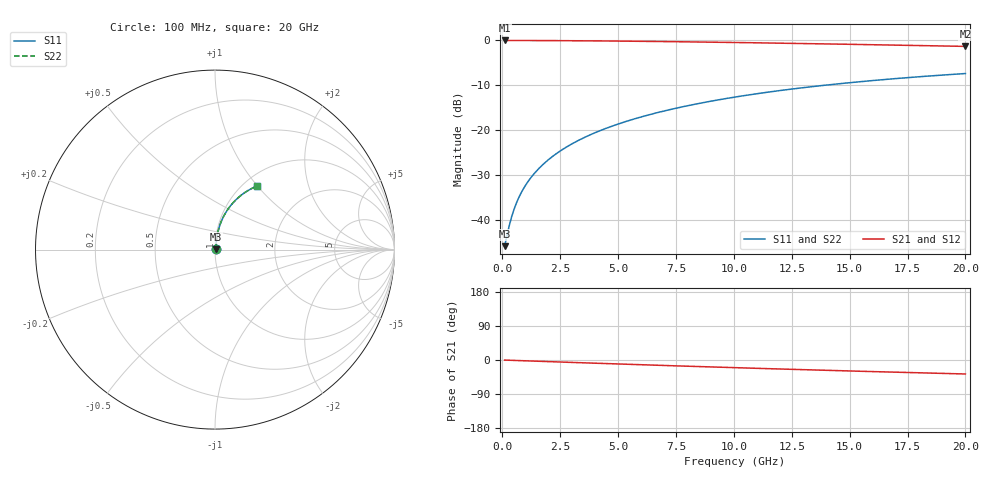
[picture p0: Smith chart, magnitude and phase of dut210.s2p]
! Touchstone file exported from HFSS 2024.1.0
!  File:  C:/UserFiles/LocalFiles/RDL_TSV_Batchsim/temp_RDL_bottom_210_1778699983.aedt
!  Generated:  03:22:28 AM May 14, 2026
!  Design:  RDL_bottom
!  Project:  temp_RDL_bottom_210_1778699983
!  Setup:  Setup1
!  Solution:  Sweep
! Variables:
!  dtsv = 10.80580581um
!  hbump = 3um
!  htsv = 64.42um
!  ldown = 440.91um
!  lrdl = 100um
!  p = 40
!  p1 = 53.54um
!  rhole = 1um
!  t = 450um
!  tdown = 2.43um
!  trdl = 3.915915916um
!  wdown = 14.93um
!  wrdl = 20um
# GHz S MA R 50.000000
! Terminal data exported
! Port[1] = RDL1_T1
! Port[2] = RDL1_T2
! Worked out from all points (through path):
!   200 points, 100 MHz to 20 GHz, reference 50 ohm
!   highest |S21| = -0.04 dB at 100 MHz (marker M1); lowest = -1.4 dB at 20 GHz (marker M2)
!   group delay of S21, straight-line fit = 5.12 ps
!   lowest |S11| = -45.8 dB at 100 MHz (marker M3), VSWR 1.01, Z = 50.5 + j0.246 ohm
!   |S11| at or under -10 dB: start of sweep to 13.94 GHz
!   |S22| runs from -45.8 to -7.4 dB; largest |S21 - S12| = 2.5e-15
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0.1  0.005116 28.5  0.9955 -0.2  0.9955 -0.2  0.005116 28.5
! Gamma 0 0 0 0
! Port Impedance 50 0 50 0
0.3  0.008637 57.3  0.9953 -0.7  0.9953 -0.7  0.008637 57.3
0.4  0.01077 63.6  0.9952 -0.9  0.9952 -0.9  0.01077 63.6
0.5  0.01298 67.7  0.9951 -1.1  0.9951 -1.1  0.01298 67.7
0.6  0.01522 70.5  0.9949 -1.3  0.9949 -1.3  0.01522 70.5
0.7  0.01747 72.6  0.9947 -1.5  0.9947 -1.5  0.01747 72.6
0.9  0.02199 75.4  0.9944 -2.0  0.9944 -2.0  0.02199 75.4
1.2  0.02879 77.8  0.9939 -2.6  0.9939 -2.6  0.02879 77.8
1.4  0.03334 78.9  0.9935 -3.0  0.9935 -3.0  0.03334 78.9
1.7  0.04019 79.9  0.9928 -3.6  0.9928 -3.6  0.04019 79.9
2.2  0.05167 80.8  0.9916 -4.7  0.9916 -4.7  0.05167 80.8
2.8  0.06554 81.2  0.9897 -6.0  0.9897 -6.0  0.06554 81.2
3.5  0.08182 81.1  0.9871 -7.4  0.9871 -7.4  0.08182 81.1
4.2  0.09817 80.6  0.984 -8.9  0.984 -8.9  0.09817 80.6
5  0.1169 79.9  0.9799 -10.5  0.9799 -10.5  0.1169 79.9
5.9  0.138 78.8  0.9748 -12.3  0.9748 -12.3  0.138 78.8
6.8  0.1591 77.5  0.9691 -14.1  0.9691 -14.1  0.1591 77.5
8.4  0.1961 75.1  0.9578 -17.2  0.9578 -17.2  0.1961 75.1
10.1  0.2346 72.4  0.9446 -20.4  0.9446 -20.4  0.2346 72.4
13.4  0.3053 66.8  0.9165 -26.2  0.9165 -26.2  0.3053 66.9
16.7  0.3695 61.4  0.8862 -31.7  0.8862 -31.7  0.3695 61.4
20  0.4265 56.3  0.8552 -36.9  0.8552 -36.9  0.4265 56.3
